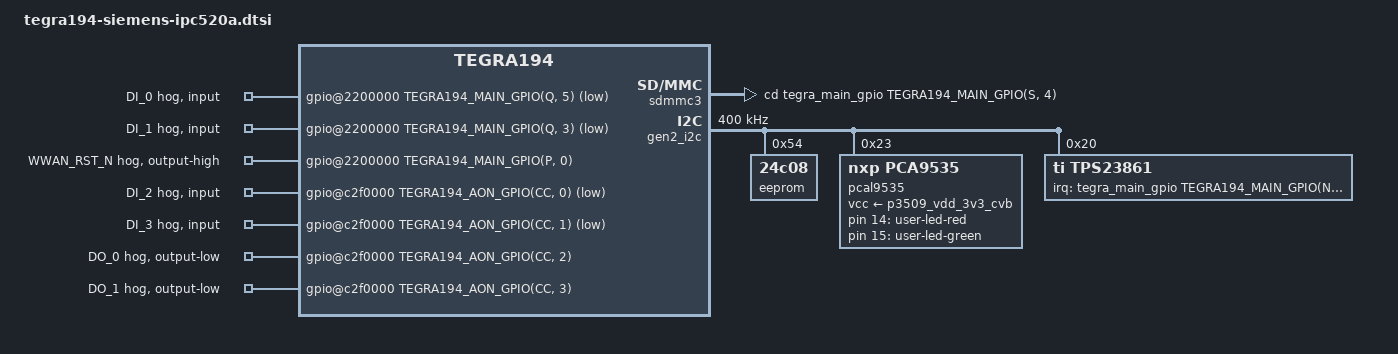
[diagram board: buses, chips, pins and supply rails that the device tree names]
/*
 * Copyright (c) Siemens AG, 2023
 *
 * Authors:
 *  Nian Gao <nian.gao@siemens.com>
 */

/ {
	leds {
		compatible = "gpio-leds";
		status = "okay";

		user-led-red {
			gpios = <&pcal9535 14 GPIO_ACTIVE_HIGH>;
			linux,default-trigger = "gpio";
			default-state = "off";
		};

		user-led-green {
			gpios = <&pcal9535 15 GPIO_ACTIVE_HIGH>;
			linux,default-trigger = "gpio";
			default-state = "off";
		};

		/delete-node/ pwr;
	};

	gpio@2200000 {
		DI_0 {
			gpio-hog;
			input;
			gpios = <TEGRA194_MAIN_GPIO(Q, 5) GPIO_ACTIVE_LOW>;
			label = "DI_0";
			status = "okay";
		};

		DI_1 {
			gpio-hog;
			input;
			gpios = <TEGRA194_MAIN_GPIO(Q, 3) GPIO_ACTIVE_LOW>;
			label = "DI_1";
			status = "okay";
		};

		WWAN_RST_N {
			gpio-hog;
			output-high;
			gpios = <TEGRA194_MAIN_GPIO(P, 0) GPIO_ACTIVE_HIGH>;
			label = "WWAN_RST_N";
			status = "okay";
		};
	};

	gpio@c2f0000 {
		DI_2 {
			gpio-hog;
			input;
			gpios = <TEGRA194_AON_GPIO(CC, 0) GPIO_ACTIVE_LOW>;
			label = "DI_2";
			status = "okay";
		};

		DI_3 {
			gpio-hog;
			input;
			gpios = <TEGRA194_AON_GPIO(CC, 1) GPIO_ACTIVE_LOW>;
			label = "DI_3";
			status = "okay";
		};

		DO_0 {
			gpio-hog;
			output-low;
			gpios = <TEGRA194_AON_GPIO(CC, 2) GPIO_ACTIVE_HIGH>;
			label = "DO_0";
			status = "okay";
		};

		DO_1 {
			gpio-hog;
			output-low;
			gpios = <TEGRA194_AON_GPIO(CC, 3) GPIO_ACTIVE_HIGH>;
			label = "DO_1";
			status = "okay";
		};

		/delete-node/ w-disable1;

		/delete-node/ w-disable2;

		/delete-node/ suspend-led-gpio;
	};

	cam_i2cmux {
		/delete-property/ mux-gpios;
	};

	pinmux@2430000 {
		pinctrl-names = "default";
		pinctrl-0 = <&jetson_io_pinmux>;

		jetson_io_pinmux: exp-header-pinmux {
			hdr40-pin11 {
				nvidia,lpdr = <0x0>;
				nvidia,enable-input = <0x0>;
				nvidia,tristate = <0x0>;
				nvidia,pull = <0x0>;
				nvidia,function = "uarta";
				nvidia,pins = "uart1_rts_pr4";
			};

			hdr40-pin36 {
				nvidia,pins = "uart1_cts_pr5";
				nvidia,function = "uarta";
				nvidia,pin-group = "uarta-cts/rts";
				nvidia,pull = <TEGRA_PIN_PULL_UP>;
				nvidia,tristate = <TEGRA_PIN_ENABLE>;
				nvidia,enable-input = <TEGRA_PIN_ENABLE>;
				nvidia,lpdr = <TEGRA_PIN_DISABLE>;
			};
		};
	};

	/* not battery-backed */
	rtc@c2a0000 {
		status = "disabled";
	};

};

&sdmmc3 {
	nvidia,sd-device;
	cd-gpios = <&tegra_main_gpio TEGRA194_MAIN_GPIO(S, 4) 0>;
	power-gpios = <&tegra_aon_gpio TEGRA194_AON_GPIO(AA, 2) GPIO_ACTIVE_HIGH>;  // details of GPIO port used to power up SDIO card, Specify GPIOs for power control
	mmc-ocr-mask = <0>; // Specify OCR register masking details. Based on this value the power up voltage depending on board capabilities can be selected.
	status = "okay";
	/delete-property/ nvidia,vqmmc-always-on; // we have SDMMC_VDD_EN gpio
	/delete-property/ cd-inverted;  // invert the value of external card detect gpio line
};

&gen2_i2c {
	pinctrl-names = "default";
	clock-frequency = <400000>;
	status = "okay";

	eeprom: eeprom@54 {
		compatible = "24c08";
		reg = <0x54>;
		pagesize = <16>;
	};

	pcal9535: gpio@23 {
		compatible = "nxp,pca9535";
		reg = <0x23>;
		#gpio-cells = <2>;
		/* must use 'vcc-supply' for devm_regulator_get() in driver gpio-pca953x.c */
		vcc-supply = <&p3509_vdd_3v3_cvb>;
		gpio-controller;
		gpio-line-names = "BAT_CHECK_EN", "BAT_PRESENT_N", "BAT_LOW_N", "BAT_FAIL_N",
							"DISABLE_WIFI_N", "DISABLE_BT_N",
							"NC",
							"WWAN_PWR_OFF_N", "WWAN_DISABLE_N",
							"COM1_EN", "COM1_MODE0", "COM1_MODE1", "COM1_RTS_N", "COM1_TERM",
							"LED_UDF_RD", "LED_UDF_GN";

		wifi-disable {
			gpio-hog;
			output-high;
			gpios = <4 0>;
			label = "wifi-disable";
			status = "okay";
		};

		bt-disable {
			gpio-hog;
			output-high;
			gpios = <5 0>;
			label = "bt-disable";
			status = "okay";
		};

		wwan_pwr_off {
			gpio-hog;
			output-high;
			gpios = <7 0>;
			label = "wwan_pwr_off";
			status = "okay";
		};

		wwan_disable {
			gpio-hog;
			output-high;
			gpios = <8 0>;
			label = "wwan_disable";
			status = "okay";
		};
	};

	tps23861@20 {
		compatible = "ti,tps23861";
		reg = <0x20>;
		sense-resistor = <250000>;	/* micro-ohms */
		irq-gpio = <&tegra_main_gpio TEGRA194_MAIN_GPIO(N, 1) 0>;

		dynamic-power;			/* you must set max-power and power-volt if dynamic-power */
		max-power = <31968>;	/* mW */
		power-volt = <54000>;	/* mV */

		port0 {
			label = "poe_1";
			mode = "semiauto";		/* manual | semiauto | auto */
			max-power = <20196>;	/* mW, you must set max-power if in mannual or semiauto mode */
			auto-power;
		};

		port2 {
			label = "poe_2";
			mode = "semiauto";
			max-power = <20196>;
			auto-power;
		};
	};
};
